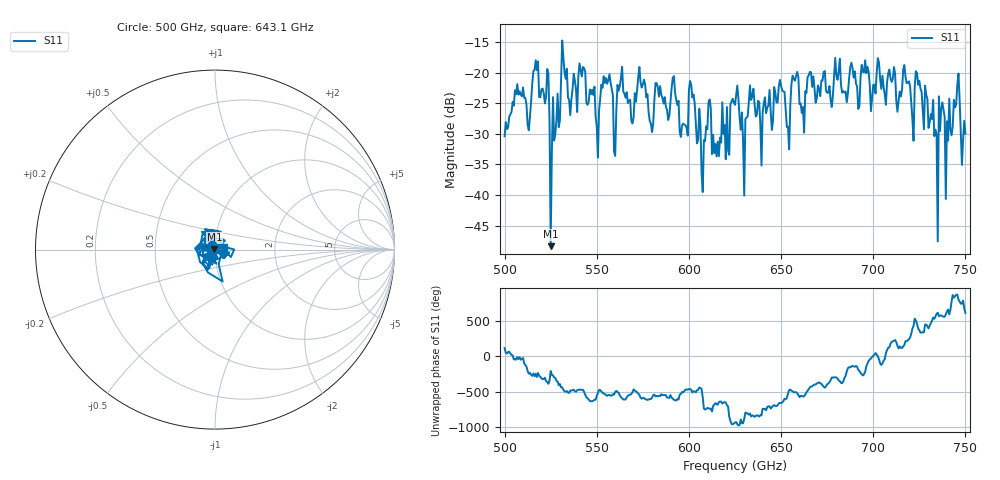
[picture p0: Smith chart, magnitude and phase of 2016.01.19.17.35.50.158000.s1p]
!Created with skrf (http://scikit-rf.org).
# GHz S RI R 50.0
!freq ReS11 ImS11
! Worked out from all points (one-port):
!   401 points, 500 GHz to 750 GHz, reference 50 ohm
!   lowest |S11| = -48.3 dB at 525 GHz (marker M1), VSWR 1.01, Z = 49.7 + j0.162 ohm
!   |S11| at or under -10 dB: start of sweep to end of sweep
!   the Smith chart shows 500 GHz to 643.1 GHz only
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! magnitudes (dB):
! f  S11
! 500 GHz  -30.4
! 506.9 GHz  -21.9
! 513.1 GHz  -29.4
! 516.9 GHz  -18.0
! 525 GHz  -48.3
! 531.2 GHz  -14.8
! 541.9 GHz  -20.6
! 550.6 GHz  -33.9
! 555.6 GHz  -21.8
! 560.6 GHz  -26.1
! 562.5 GHz  -22.2
! 593.8 GHz  -25.3
! 598.1 GHz  -28.6
! 601.2 GHz  -22.0
! 608.1 GHz  -31.0
! 610.6 GHz  -24.9
! 615 GHz  -33.7
! 625 GHz  -25.3
! 629.4 GHz  -31.1
! 633.8 GHz  -24.5
! 650 GHz  -22.2
! 653.8 GHz  -28.8
! 656.2 GHz  -20.5
! 687.5 GHz  -19.2
! 718.8 GHz  -21.7
! 733.8 GHz  -29.3
! 745 GHz  -25.2
! 750 GHz  -30.0
